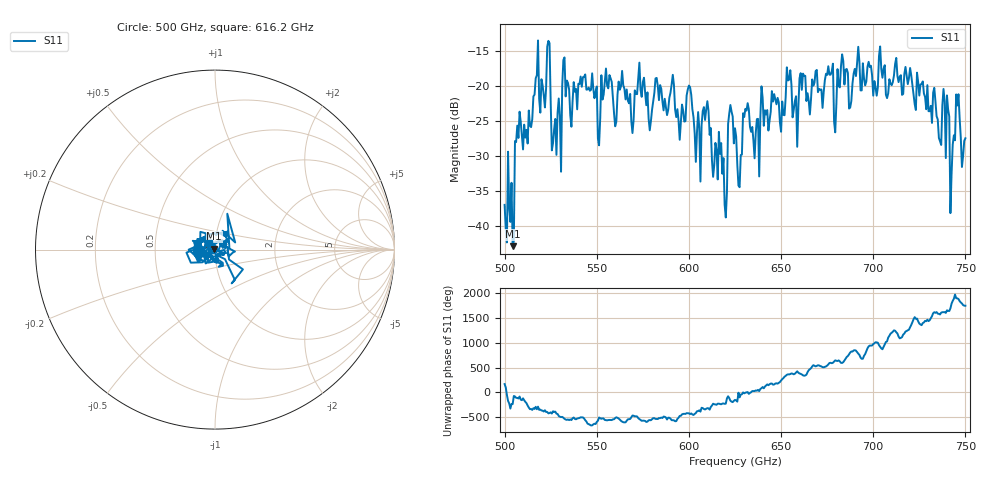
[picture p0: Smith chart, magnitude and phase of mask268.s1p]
!Created with skrf (http://scikit-rf.org).
# GHz S MA R 50.0
!freq magS11 angS11
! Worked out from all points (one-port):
!   401 points, 500 GHz to 750 GHz, reference 50 ohm
!   lowest |S11| = -42.8 dB at 504.4 GHz (marker M1), VSWR 1.01, Z = 49.6 + j0.593 ohm
!   |S11| at or under -10 dB: start of sweep to end of sweep
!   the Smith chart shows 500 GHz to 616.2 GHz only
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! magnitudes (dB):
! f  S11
! 500 GHz  -36.9
! 504.4 GHz  -42.8
! 506.9 GHz  -25.6
! 513.8 GHz  -25.7
! 516.9 GHz  -18.9
! 523.8 GHz  -13.6
! 526.9 GHz  -26.2
! 531.2 GHz  -20.0
! 562.5 GHz  -20.5
! 590.6 GHz  -19.8
! 593.8 GHz  -23.3
! 600 GHz  -19.9
! 605 GHz  -23.7
! 609.4 GHz  -23.4
! 619.4 GHz  -36.9
! 622.5 GHz  -22.7
! 625 GHz  -26.0
! 627.5 GHz  -34.4
! 630.6 GHz  -23.3
! 636.9 GHz  -24.7
! 656.2 GHz  -24.5
! 687.5 GHz  -23.1
! 691.2 GHz  -16.7
! 718.8 GHz  -19.7
! 739.4 GHz  -30.3
! 743.1 GHz  -28.4
! 745.6 GHz  -22.8
! 750 GHz  -27.5
